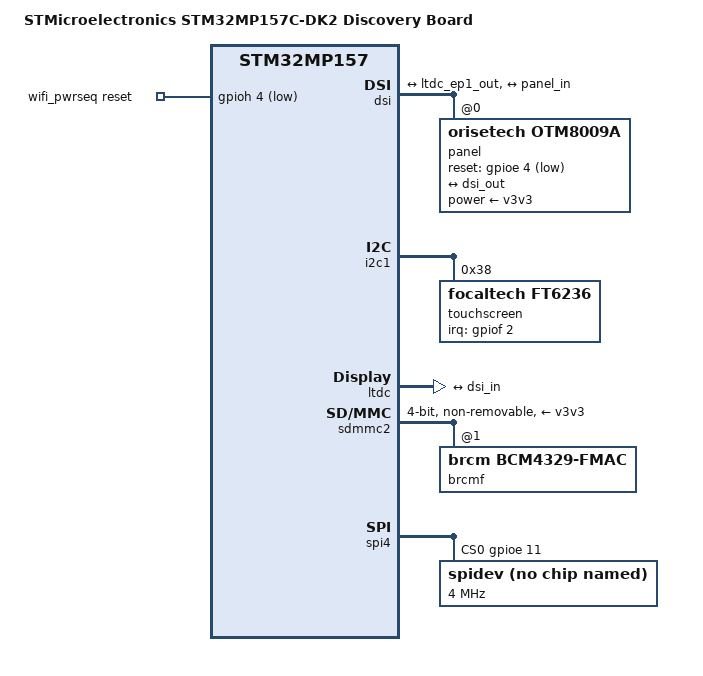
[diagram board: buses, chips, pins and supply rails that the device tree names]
// SPDX-License-Identifier: (GPL-2.0+ OR BSD-3-Clause)
/*
 * Copyright (C) STMicroelectronics 2019 - All Rights Reserved
 * Author: Alexandre Torgue <alexandre.torgue@st.com> for STMicroelectronics.
 */

/dts-v1/;

#include "stm32mp157.dtsi"
#include "stm32mp15xc.dtsi"
#include "stm32mp15-pinctrl.dtsi"
#include "stm32mp15xxac-pinctrl.dtsi"
#include "stm32mp15xx-dkx.dtsi"
#include <dt-bindings/rtc/rtc-stm32.h>

/ {
	model = "STMicroelectronics STM32MP157C-DK2 Discovery Board";
	compatible = "st,stm32mp157c-dk2", "st,stm32mp157";

	aliases {
		ethernet0 = &ethernet0;
		serial0 = &uart4;
		spi0 = &spi4;
	};

	chosen {
		stdout-path = "serial0:115200n8";
	};

	wifi_pwrseq: wifi-pwrseq {
		compatible = "mmc-pwrseq-simple";
		reset-gpios = <&gpioh 4 GPIO_ACTIVE_LOW>;
	};
};

&dsi {
	status = "okay";
	phy-dsi-supply = <&reg18>;

	ports {
		port@0 {
			reg = <0>;
			dsi_in: endpoint {
				remote-endpoint = <&ltdc_ep1_out>;
			};
		};

		port@1 {
			reg = <1>;
			dsi_out: endpoint {
				remote-endpoint = <&panel_in>;
			};
		};
	};

	panel@0 {
		compatible = "orisetech,otm8009a";
		reg = <0>;
		reset-gpios = <&gpioe 4 GPIO_ACTIVE_LOW>;
		power-supply = <&v3v3>;
		status = "okay";

		port {
			panel_in: endpoint {
				remote-endpoint = <&dsi_out>;
			};
		};
	};
};

&i2c1 {
	touchscreen@38 {
		compatible = "focaltech,ft6236";
		reg = <0x38>;
		interrupts = <2 2>;
		interrupt-parent = <&gpiof>;
		interrupt-controller;
		touchscreen-size-x = <480>;
		touchscreen-size-y = <800>;
		status = "okay";
	};
};

&ltdc {
	status = "okay";

	port {
		ltdc_ep1_out: endpoint@1 {
			reg = <1>;
			remote-endpoint = <&dsi_in>;
		};
	};
};

&rtc {
	st,lsco = <RTC_OUT2_RMP>;
	pinctrl-0 = <&rtc_out2_rmp_pins_a>;
	pinctrl-names = "default";
};

&sdmmc2 {
	pinctrl-names = "default", "opendrain", "sleep";
	pinctrl-0 = <&sdmmc2_b4_pins_b>;
	pinctrl-1 = <&sdmmc2_b4_od_pins_b>;
	pinctrl-2 = <&sdmmc2_b4_sleep_pins_a>;
	non-removable;
	st,neg-edge;
	bus-width = <4>;
	vmmc-supply = <&v3v3>;
	mmc-pwrseq = <&wifi_pwrseq>;
	keep-power-in-suspend;
	status = "okay";

	#address-cells = <1>;
	#size-cells = <0>;
	brcmf: bcrmf@1 {
		reg = <1>;
		compatible = "brcm,bcm4329-fmac";
	};
};

&spi4 {
	pinctrl-names = "default", "sleep";
	pinctrl-0 = <&spi4_pins_b>;
	pinctrl-1 = <&spi4_sleep_pins_b>;
	cs-gpios = <&gpioe 11 GPIO_ACTIVE_HIGH>;
	status = "okay";

	spidev@0 {
		compatible = "spidev";
		reg = <0>;
		spi-max-frequency = <4000000>;
		st,spi-midi-ns = <4000>;
	};
};
